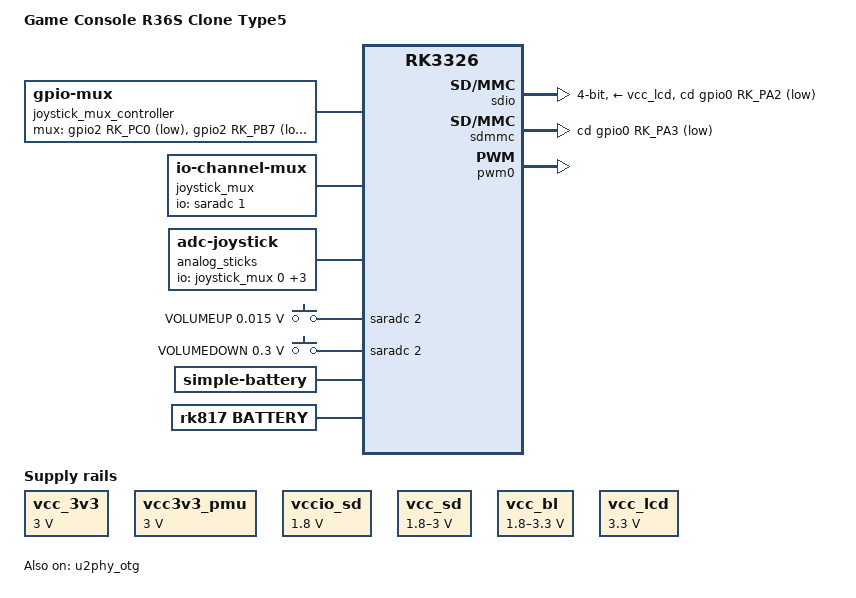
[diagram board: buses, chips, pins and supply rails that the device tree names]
// SPDX-License-Identifier: (GPL-2.0+ OR MIT)
/*
 * Arch R - R36S Clone Type5 (G80CA-MB) device tree for kernel 6.6
 *
 * Board profile for R36S clone variant "Type5" (G80CA-MB board).
 * Based on rk3326-odroid-go.dtsi (proven kernel 6.6 base).
 *
 * KEY DIFFERENCES from original R36S:
 *   - PMIC: 3.0V rails (vs 3.3V), extra LDO_REG1/LDO_REG9
 *   - Panel: different reset/enable GPIOs, 30MHz pixel clock, enable-gpios
 *   - Buttons: ALL on GPIO3 (B/C/D), thumbsticks on GPIO2 (B)
 *   - Volume: ADC-based (saradc ch2) instead of GPIO
 *   - USB OTG: disabled, vcc_host on GPIO2 PA4
 *   - Audio: no external amplifier (no spk-ctl-gpios, no use-ext-amplifier)
 *   - HP detect: GPIO2 PC6 (same as original, verified from BSP DTB)
 *   - Battery: 2775mAh (vs 3200mAh), lower charge current
 *   - SD: 100MHz max, different cd-gpios
 *   - No eMMC → SD = mmcblk0 (original has eMMC → SD = mmcblk1)
 *
 * Copyright (C) 2024-2026 Arch R Project
 */

/dts-v1/;
#include "rk3326-odroid-go.dtsi"

/ {
	model = "Game Console R36S Clone Type5";
	compatible = "gameconsole,r36s-clone-type5", "gameconsole,r36s",
		     "rockchip,rk3326";

	/* Clone has no eMMC — only SD via SDMMC controller */
	aliases {
		mmc0 = &sdmmc;  /* Primary SD slot (mmcblk0) */
	};

	/*
	 * ADC mux for dual analog sticks
	 * Clone mux GPIOs: A=GPIO2_PC0, B=GPIO2_PB7, EN=GPIO2_PB4
	 * (Verified from BSP DTB: phandle 0xbd = GPIO2 = ff260000)
	 * Channel mapping (from BSP): [2,3,1,0]
	 *   mux ch0 = Right Y, ch1 = Right X, ch2 = Left X, ch3 = Left Y
	 */
	joystick_mux_controller: mux-controller {
		compatible = "gpio-mux";
		pinctrl = <&mux_en_pins>;
		#mux-control-cells = <0>;
		mux-gpios = <&gpio2 RK_PC0 GPIO_ACTIVE_LOW>,
			    <&gpio2 RK_PB7 GPIO_ACTIVE_LOW>;
	};

	joystick_mux: adc-mux {
		compatible = "io-channel-mux";
		io-channels = <&saradc 1>;
		io-channel-names = "parent";
		#io-channel-cells = <1>;
		mux-controls = <&joystick_mux_controller>;
		channels = "0", "1", "2", "3";
	};

	analog_sticks: adc-joystick {
		compatible = "adc-joystick";
		io-channels = <&joystick_mux 0>,
			      <&joystick_mux 1>,
			      <&joystick_mux 2>,
			      <&joystick_mux 3>;
		poll-interval = <60>;
		#address-cells = <1>;
		#size-cells = <0>;

		/* Clone channel mapping: ch0=RY, ch1=RX, ch2=LX, ch3=LY */
		/* All axes inverted on clone (abs-range max < min) */
		axis@0 {
			reg = <0>;
			abs-flat = <32>;
			abs-fuzz = <32>;
			abs-range = <800 180>;
			linux,code = <ABS_RY>;
		};

		axis@1 {
			reg = <1>;
			abs-flat = <32>;
			abs-fuzz = <32>;
			abs-range = <800 180>;
			linux,code = <ABS_RX>;
		};

		axis@2 {
			reg = <2>;
			abs-flat = <32>;
			abs-fuzz = <32>;
			abs-range = <800 180>;
			linux,code = <ABS_X>;
		};

		axis@3 {
			reg = <3>;
			abs-flat = <32>;
			abs-fuzz = <32>;
			abs-range = <800 180>;
			linux,code = <ABS_Y>;
		};
	};

	/*
	 * Volume buttons: ADC-based on clone (saradc channel 2)
	 * Clone uses resistor ladder, not individual GPIO pins.
	 * Measured: Vol-up ADC ~9 (~16mV), Vol-down ADC ~166 (~292mV)
	 * Thresholds: closest-match algorithm, values near measured voltages.
	 * Reference: ROCKNIX rk3326-gameconsole-eeclone.dts
	 */
	adc-keys {
		compatible = "adc-keys";
		io-channels = <&saradc 2>;
		io-channel-names = "buttons";
		autorepeat;
		poll-interval = <100>;
		keyup-threshold-microvolt = <1800000>;

		button-vol-up {
			label = "VOLUMEUP";
			linux,code = <KEY_VOLUMEUP>;
			press-threshold-microvolt = <15000>;
		};

		button-vol-down {
			label = "VOLUMEDOWN";
			linux,code = <KEY_VOLUMEDOWN>;
			press-threshold-microvolt = <300000>;
		};
	};

	/* Battery: Clone has 2775mAh (vs 3200mAh on original) */
	battery: battery {
		compatible = "simple-battery";
		charge-full-design-microamp-hours = <2775000>;
		charge-term-current-microamp = <300000>;
		constant-charge-current-max-microamp = <800000>;
		constant-charge-voltage-max-microvolt = <4200000>;
		factory-internal-resistance-micro-ohms = <180000>;
		voltage-max-design-microvolt = <4100000>;
		voltage-min-design-microvolt = <3500000>;

		ocv-capacity-celsius = <20>;
		ocv-capacity-table-0 =  <4046950 100>, <4001920 95>, <3967900 90>, <3919950 85>,
					<3888450 80>, <3861850 75>, <3831540 70>, <3799130 65>,
					<3768190 60>, <3745650 55>, <3726610 50>, <3711630 45>,
					<3696720 40>, <3685660 35>, <3674950 30>, <3663050 25>,
					<3649470 20>, <3635260 15>, <3616920 10>, <3592440 5>,
					<3300000 0>;
	};

	/* Sound card: HP detect on GPIO2 PC6 (same as original, verified from BSP DTB) */
	rk817-sound {
		/delete-property/ simple-audio-card,routing;
		simple-audio-card,widgets = "Headphone", "Headphones";
		simple-audio-card,hp-det-gpio = <&gpio2 RK_PC6 GPIO_ACTIVE_LOW>;
		simple-audio-card,codec {
			sound-dai = <&rk817_codec>;
		};
	};

};

/* Override vcc_host: clone uses GPIO2 PA4 (vs GPIO0 PB7 on original) */
&vcc_host {
	gpio = <&gpio2 RK_PA4 GPIO_ACTIVE_HIGH>;
	pinctrl-0 = <&host_drv>;
	pinctrl-names = "default";
	/delete-property/ regulator-boot-on;
	/delete-property/ vin-supply;
};

/* ============================================================
 * Remove ODROID-specific nodes not present on clone
 * ============================================================ */
/delete-node/ &gpio_led;
/delete-node/ &pwm_led;

/* Delete ALL ODROID F-buttons (clone has different GPIOs) */
/delete-node/ &btn_f1;
/delete-node/ &btn_f2;
/delete-node/ &btn_f3;
/delete-node/ &btn_f4;
/delete-node/ &btn_f5;
/delete-node/ &btn_f6;

/* ============================================================
 * Clone gamepad buttons — ALL game buttons on GPIO3
 *
 * CRITICAL: BSP DTB phandle mapping (verified from register addresses):
 *   phandle 0x68 = ff270000 = GPIO3
 *   phandle 0xbd = ff260000 = GPIO2
 *
 * Clone Type5:    DPAD on GPIO3 C4-C7, ABXY on GPIO3 C0-C3,
 *                 shoulders on GPIO3 B2-B6, extras on GPIO3 D0-D1
 *                 thumbsticks on GPIO2 B5-B6
 *
 * Keycodes use standard BTN_* (same as original) for ES compatibility.
 * ============================================================ */
&builtin_gamepad {
	pinctrl-0 = <&btn_pins>;

	/* DPAD: clone uses GPIO3 */
	button-sw1 {
		gpios = <&gpio3 RK_PC6 GPIO_ACTIVE_LOW>;
		label = "DPAD-UP";
		linux,code = <BTN_DPAD_UP>;
	};

	button-sw2 {
		gpios = <&gpio3 RK_PC7 GPIO_ACTIVE_LOW>;
		label = "DPAD-DOWN";
		linux,code = <BTN_DPAD_DOWN>;
	};

	button-sw3 {
		gpios = <&gpio3 RK_PC4 GPIO_ACTIVE_LOW>;
		label = "DPAD-LEFT";
		linux,code = <BTN_DPAD_LEFT>;
	};

	button-sw4 {
		gpios = <&gpio3 RK_PC5 GPIO_ACTIVE_LOW>;
		label = "DPAD-RIGHT";
		linux,code = <BTN_DPAD_RIGHT>;
	};

	/* ABXY: clone has them on GPIO3 C0-C3 */
	button-sw5 {
		gpios = <&gpio3 RK_PC0 GPIO_ACTIVE_LOW>;
		label = "BTN_A";
		linux,code = <BTN_EAST>;
	};

	button-sw6 {
		gpios = <&gpio3 RK_PC1 GPIO_ACTIVE_LOW>;
		label = "BTN_B";
		linux,code = <BTN_SOUTH>;
	};

	button-sw7 {
		gpios = <&gpio3 RK_PC2 GPIO_ACTIVE_LOW>;
		label = "BTN_X";
		linux,code = <BTN_NORTH>;
	};

	button-sw8 {
		gpios = <&gpio3 RK_PC3 GPIO_ACTIVE_LOW>;
		label = "BTN_Y";
		linux,code = <BTN_WEST>;
	};

	/*
	 * Shoulders: override button-sw15/sw16 from base DTSI.
	 * Must use same node names to properly override base nodes.
	 */
	button-sw15 {
		gpios = <&gpio3 RK_PB5 GPIO_ACTIVE_LOW>;
		label = "TOP-LEFT";
		linux,code = <BTN_TL>;
	};

	button-sw16 {
		gpios = <&gpio3 RK_PB3 GPIO_ACTIVE_LOW>;
		label = "TOP-RIGHT";
		linux,code = <BTN_TR>;
	};

	/* Thumbstick buttons: on GPIO2 (verified from BSP DTB) */
	button-thumbl {
		gpios = <&gpio2 RK_PB5 GPIO_ACTIVE_LOW>;
		label = "BTN_THUMBL";
		linux,code = <BTN_THUMBL>;
	};

	button-thumbr {
		gpios = <&gpio2 RK_PB6 GPIO_ACTIVE_LOW>;
		label = "BTN_THUMBR";
		linux,code = <BTN_THUMBR>;
	};

	button-mode {
		gpios = <&gpio3 RK_PB2 GPIO_ACTIVE_LOW>;
		label = "BTN_MODE";
		linux,code = <BTN_MODE>;
	};

	button-select {
		gpios = <&gpio3 RK_PD0 GPIO_ACTIVE_LOW>;
		label = "SELECT";
		linux,code = <BTN_SELECT>;
	};

	button-start {
		gpios = <&gpio3 RK_PD1 GPIO_ACTIVE_LOW>;
		label = "START";
		linux,code = <BTN_START>;
	};

	button-tl2 {
		gpios = <&gpio3 RK_PB6 GPIO_ACTIVE_LOW>;
		label = "TOP-LEFT 2";
		linux,code = <BTN_TL2>;
	};

	button-tr2 {
		gpios = <&gpio3 RK_PB4 GPIO_ACTIVE_LOW>;
		label = "TOP-RIGHT 2";
		linux,code = <BTN_TR2>;
	};
};

/* ============================================================
 * Panel: Clone Type5 NV3052C 640x480 MIPI-DSI
 * Different GPIOs, timing, and init from original R36S
 * ============================================================ */
&internal_display {
	compatible = "archr,generic-dsi";
	reset-gpios = <&gpio3 RK_PD3 GPIO_ACTIVE_LOW>;
	enable-gpios = <&gpio3 RK_PA3 GPIO_ACTIVE_HIGH>;
	vdd-supply = <&vcc_lcd>;
	iovcc-supply = <&vcc_lcd>;
	backlight = <&backlight>;

	panel_description =
		"G size=153,85 delays=20,20,20,120,0 format=rgb888 lanes=4 flags=0xa03",
		"M clock=30000 horizontal=640,168,8,161 vertical=480,16,2,14 default=1",
		"I dcs=0xff data=30",
		"I dcs=0xff data=52",
		"I dcs=0xff data=01",
		"I dcs=0xe3 data=00",
		"I dcs=0x25 data=10",
		"I dcs=0x28 data=6f",
		"I dcs=0x29 data=01",
		"I dcs=0x2a data=df",
		"I dcs=0x2c data=22",
		"I dcs=0xc3 data=0f",
		"I dcs=0x37 data=9c",
		"I dcs=0x38 data=a7",
		"I dcs=0x39 data=41",
		"I dcs=0x80 data=20",
		"I dcs=0x91 data=67",
		"I dcs=0x92 data=67",
		"I dcs=0xa0 data=55",
		"I dcs=0xa1 data=50",
		"I dcs=0xa3 data=58",
		"I dcs=0xa4 data=9c",
		"I dcs=0xa7 data=02",
		"I dcs=0xa8 data=01",
		"I dcs=0xa9 data=21",
		"I dcs=0xaa data=fc",
		"I dcs=0xab data=28",
		"I dcs=0xac data=06",
		"I dcs=0xad data=06",
		"I dcs=0xae data=06",
		"I dcs=0xaf data=03",
		"I dcs=0xb0 data=08",
		"I dcs=0xb1 data=26",
		"I dcs=0xb2 data=28",
		"I dcs=0xb3 data=28",
		"I dcs=0xb4 data=03",
		"I dcs=0xb5 data=08",
		"I dcs=0xb6 data=26",
		"I dcs=0xb7 data=08",
		"I dcs=0xb8 data=26",
		"I dcs=0xc0 data=00",
		"I dcs=0xc1 data=00",
		"I dcs=0xc2 data=00",
		"I dcs=0xff data=30",
		"I dcs=0xff data=52",
		"I dcs=0xff data=02",
		"I dcs=0xb0 data=02",
		"I dcs=0xd0 data=02",
		"I dcs=0xb1 data=0f",
		"I dcs=0xd1 data=10",
		"I dcs=0xb2 data=11",
		"I dcs=0xd2 data=12",
		"I dcs=0xb3 data=32",
		"I dcs=0xd3 data=33",
		"I dcs=0xb4 data=36",
		"I dcs=0xd4 data=36",
		"I dcs=0xb5 data=3c",
		"I dcs=0xd5 data=3c",
		"I dcs=0xb6 data=20",
		"I dcs=0xd6 data=20",
		"I dcs=0xb7 data=3e",
		"I dcs=0xd7 data=3e",
		"I dcs=0xb8 data=0e",
		"I dcs=0xd8 data=0d",
		"I dcs=0xb9 data=05",
		"I dcs=0xd9 data=05",
		"I dcs=0xba data=11",
		"I dcs=0xda data=12",
		"I dcs=0xbb data=11",
		"I dcs=0xdb data=11",
		"I dcs=0xbc data=13",
		"I dcs=0xdc data=14",
		"I dcs=0xbd data=14",
		"I dcs=0xdd data=14",
		"I dcs=0xbe data=16",
		"I dcs=0xde data=18",
		"I dcs=0xbf data=0e",
		"I dcs=0xdf data=0f",
		"I dcs=0xc0 data=17",
		"I dcs=0xe0 data=17",
		"I dcs=0xc1 data=07",
		"I dcs=0xe1 data=08",
		"I dcs=0xff data=30",
		"I dcs=0xff data=52",
		"I dcs=0xff data=03",
		"I dcs=0x08 data=8a",
		"I dcs=0x09 data=8b",
		"I dcs=0x30 data=00",
		"I dcs=0x31 data=00",
		"I dcs=0x32 data=00",
		"I dcs=0x33 data=00",
		"I dcs=0x34 data=61",
		"I dcs=0x35 data=d4",
		"I dcs=0x36 data=24",
		"I dcs=0x37 data=03",
		"I dcs=0x40 data=86",
		"I dcs=0x41 data=87",
		"I dcs=0x42 data=84",
		"I dcs=0x43 data=85",
		"I dcs=0x44 data=11",
		"I dcs=0x45 data=de",
		"I dcs=0x46 data=dd",
		"I dcs=0x47 data=11",
		"I dcs=0x48 data=e0",
		"I dcs=0x49 data=df",
		"I dcs=0x50 data=82",
		"I dcs=0x51 data=83",
		"I dcs=0x52 data=80",
		"I dcs=0x53 data=81",
		"I dcs=0x54 data=11",
		"I dcs=0x55 data=e2",
		"I dcs=0x56 data=e1",
		"I dcs=0x57 data=11",
		"I dcs=0x58 data=e4",
		"I dcs=0x59 data=e3",
		"I dcs=0x82 data=0f",
		"I dcs=0x83 data=0f",
		"I dcs=0x84 data=00",
		"I dcs=0x85 data=0f",
		"I dcs=0x86 data=0f",
		"I dcs=0x87 data=0e",
		"I dcs=0x88 data=0e",
		"I dcs=0x89 data=06",
		"I dcs=0x8a data=06",
		"I dcs=0x8b data=07",
		"I dcs=0x8c data=07",
		"I dcs=0x8d data=04",
		"I dcs=0x8e data=04",
		"I dcs=0x8f data=05",
		"I dcs=0x90 data=05",
		"I dcs=0x98 data=0f",
		"I dcs=0x99 data=0f",
		"I dcs=0x9a data=00",
		"I dcs=0x9b data=0f",
		"I dcs=0x9c data=0f",
		"I dcs=0x9d data=0e",
		"I dcs=0x9e data=0e",
		"I dcs=0x9f data=06",
		"I dcs=0xa0 data=06",
		"I dcs=0xa1 data=07",
		"I dcs=0xa2 data=07",
		"I dcs=0xa3 data=04",
		"I dcs=0xa4 data=04",
		"I dcs=0xa5 data=05",
		"I dcs=0xa6 data=05",
		"I dcs=0xe0 data=02",
		"I dcs=0xe1 data=52",
		"I dcs=0xff data=30",
		"I dcs=0xff data=52",
		"I dcs=0xff data=00",
		"I dcs=0x36 data=02",
		"I dcs=0x11 wait=200",
		"I dcs=0x29 wait=100";
};

/* ============================================================
 * PMIC: system-power-controller for shutdown/reboot
 * Clone has different voltage rails (3.0V vs 3.3V on many)
 * NOTE: No pinctrl_rk8xx — causes kernel panic on kernel 6.6
 * ============================================================ */
&rk817 {
	rockchip,system-power-controller;

	battery {
		compatible = "rk817,battery";
		ocv_table = <3300 3592 3617 3635 3649 3663 3675
			     3686 3697 3712 3727 3746 3768 3799
			     3832 3862 3888 3920 3968 4002 4047>;
		design_capacity = <2775>;
		design_qmax = <3052>;
		bat_res = <101>;
		sleep_enter_current = <300>;
		sleep_exit_current = <300>;
		sleep_filter_current = <100>;
		power_off_thresd = <3500>;
		monitor_sec = <5>;
		sample_res = <10>;
		virtual_power = <1>;
		charge_stay_awake = <0>;
		fake_full_soc = <100>;
		nominal_voltage = <3800>;
	};
};

/* Clone USB: OTG port enabled for USB device support */
&u2phy_otg {
	status = "okay";
};

/*
 * UART2: MUST disable on clone — M1 pins (GPIO2 PB4/PB6) conflict
 * with button-tr2 and button-tl2. Console uses ttyFIQ0 (separate).
 * Without this, pinctrl fails for gpio-keys → ALL buttons dead.
 */
&uart2 {
	status = "disabled";
};

/* ============================================================
 * SDIO (second SD slot): different cd-gpio on clone
 * NOTE: Clone shares SDIO power supplies with panel/backlight
 * regulators. Keep it but adjust cd-gpio.
 * ============================================================ */
&sdio {
	bus-width = <4>;
	cap-sd-highspeed;
	card-detect-delay = <800>;
	cd-gpios = <&gpio0 RK_PA2 GPIO_ACTIVE_LOW>;
	disable-wp;
	vmmc-supply = <&vcc_lcd>;
	vqmmc-supply = <&vcc_bl>;
	status = "okay";
};

/* Primary SD slot: different cd-gpio on clone */
&sdmmc {
	cd-gpios = <&gpio0 RK_PA3 GPIO_ACTIVE_LOW>;
};

&pwm0 {
	status = "okay";
};

/* Backlight: same as original (PWM, 0-255 range) */
&backlight {
	brightness-levels = <
		  0   1   2   3   4   5   6   7
		  8   9  10  11  12  13  14  15
		 16  17  18  19  20  21  22  23
		 24  25  26  27  28  29  30  31
		 32  33  34  35  36  37  38  39
		 40  41  42  43  44  45  46  47
		 48  49  50  51  52  53  54  55
		 56  57  58  59  60  61  62  63
		 64  65  66  67  68  69  70  71
		 72  73  74  75  76  77  78  79
		 80  81  82  83  84  85  86  87
		 88  89  90  91  92  93  94  95
		 96  97  98  99 100 101 102 103
		104 105 106 107 108 109 110 111
		112 113 114 115 116 117 118 119
		120 121 122 123 124 125 126 127
		128 129 130 131 132 133 134 135
		136 137 138 139 140 141 142 143
		144 145 146 147 148 149 150 151
		152 153 154 155 156 157 158 159
		160 161 162 163 164 165 166 167
		168 169 170 171 172 173 174 175
		176 177 178 179 180 181 182 183
		184 185 186 187 188 189 190 191
		192 193 194 195 196 197 198 199
		200 201 202 203 204 205 206 207
		208 209 210 211 212 213 214 215
		216 217 218 219 220 221 222 223
		224 225 226 227 228 229 230 231
		232 233 234 235 236 237 238 239
		240 241 242 243 244 245 246 247
		248 249 250 251 252 253 254 255>;
	default-brightness-level = <200>;
};

/* ============================================================
 * Pinctrl: Clone button GPIO assignments
 * Game buttons on bank 3, thumbsticks on bank 2, mux on bank 2
 * ============================================================ */
&pinctrl {
	btns {
		btn_pins: btn-pins {
			rockchip,pins = /* GPIO3: all game buttons */
					<3 RK_PB2 RK_FUNC_GPIO &pcfg_pull_up>,
					<3 RK_PB3 RK_FUNC_GPIO &pcfg_pull_up>,
					<3 RK_PB4 RK_FUNC_GPIO &pcfg_pull_up>,
					<3 RK_PB5 RK_FUNC_GPIO &pcfg_pull_up>,
					<3 RK_PB6 RK_FUNC_GPIO &pcfg_pull_up>,
					<3 RK_PC0 RK_FUNC_GPIO &pcfg_pull_up>,
					<3 RK_PC1 RK_FUNC_GPIO &pcfg_pull_up>,
					<3 RK_PC2 RK_FUNC_GPIO &pcfg_pull_up>,
					<3 RK_PC3 RK_FUNC_GPIO &pcfg_pull_up>,
					<3 RK_PC4 RK_FUNC_GPIO &pcfg_pull_up>,
					<3 RK_PC5 RK_FUNC_GPIO &pcfg_pull_up>,
					<3 RK_PC6 RK_FUNC_GPIO &pcfg_pull_up>,
					<3 RK_PC7 RK_FUNC_GPIO &pcfg_pull_up>,
					<3 RK_PD0 RK_FUNC_GPIO &pcfg_pull_up>,
					<3 RK_PD1 RK_FUNC_GPIO &pcfg_pull_up>,
					/* GPIO2: thumbstick buttons */
					<2 RK_PB5 RK_FUNC_GPIO &pcfg_pull_up>,
					<2 RK_PB6 RK_FUNC_GPIO &pcfg_pull_up>;
		};
	};

	joystick {
		mux_en_pins: mux-pins {
			rockchip,pins = <2 RK_PB4 RK_FUNC_GPIO &pcfg_output_low>;
		};
	};

	usb {
		host_drv: host-drv {
			rockchip,pins = <2 RK_PA4 RK_FUNC_GPIO &pcfg_pull_none>;
		};
	};
};

&sfc {
	status = "disabled";
};

/* ============================================================
 * PMIC Regulator overrides for clone voltages
 * Clone runs at 3.0V on several rails (vs 3.3V on original)
 * ============================================================ */

/* DCDC_REG1 (vdd_logic): clone max is 1150mV (vs 1168mV original) */
&vdd_logic {
	regulator-max-microvolt = <1150000>;
};

/* DCDC_REG4: clone is vcc_3v0 (3.0V), original is vcc_3v3 (3.3V) */
&vcc_3v3 {
	regulator-name = "vcc_3v0";
	regulator-min-microvolt = <3000000>;
	regulator-max-microvolt = <3000000>;
};

/* LDO_REG4: clone is 3.0V (vs 3.3V on original) */
&vcc3v3_pmu {
	regulator-name = "vcc3v0_pmu";
	regulator-min-microvolt = <3000000>;
	regulator-max-microvolt = <3000000>;
};

/* LDO_REG5 (vccio_sd): clone is fixed 1.8V (original 1.8-3.3V) */
&vccio_sd {
	regulator-min-microvolt = <1800000>;
	regulator-max-microvolt = <1800000>;
};

/* LDO_REG6 (vcc_sd): clone 1.8-3.0V range (original 3.3V fixed) */
&vcc_sd {
	regulator-min-microvolt = <1800000>;
	regulator-max-microvolt = <3000000>;
	regulator-always-on;
};

/* LDO_REG7 (vcc_bl): clone allows wider range */
&vcc_bl {
	regulator-min-microvolt = <1800000>;
	regulator-max-microvolt = <3300000>;
	regulator-always-on;
	regulator-boot-on;
};

/* LDO_REG8 (vcc_lcd): clone is 3.3V (original 2.8V) */
&vcc_lcd {
	regulator-name = "vcc3v0_dvp";
	regulator-min-microvolt = <3300000>;
	regulator-max-microvolt = <3300000>;
	regulator-always-on;
	regulator-boot-on;
};

/* ============================================================
 * RK817 charger: clone has lower charge currents (800mA)
 * ============================================================ */
&rk817_charger {
	compatible = "rk817,charger";
	monitored-battery = <&battery>;
	extcon = <&u2phy>;
	min_input_voltage = <4500>;
	max_input_current = <800>;
	max_chrg_current = <800>;
	max_chrg_voltage = <4200>;
	chrg_term_mode = <0>;
	chrg_finish_cur = <300>;
	virtual_power = <0>;
	power_dc2otg = <0>;
	sample_res = <10>;
	otg5v_suspend_enable = <1>;
	gate_function_disable = <0>;
	dc_det_adc = <0>;
};

/* ============================================================
 * RK817 codec: Clone has NO external speaker amplifier
 * Unlike original R36S which needs spk-ctl-gpios and
 * use-ext-amplifier, the clone drives the speaker directly
 * from the codec's internal class-D output (or has an
 * always-on amplifier that doesn't need GPIO control).
 * ============================================================ */
&rk817_codec {
	compatible = "rockchip,rk817-codec";
	clocks = <&cru SCLK_I2S1_OUT>;
	clock-names = "mclk";
	#sound-dai-cells = <0>;
	spk-volume = <3>;
	hp-volume = <20>;
	/* No spk-ctl-gpios or use-ext-amplifier on clone */
};

/* CPU: full 1512MHz (same as original) */
&cpu0_opp_table {
	rockchip,avs = <1>;
};

/* DRAM: keep 786MHz disabled (clone hardware may not support it) */
/* &dmc_opp_table left at default: 786MHz disabled */

/* GPU: 520MHz max (no overclock — clone PMIC max is 1150mV not 1175mV) */
/* &gpu_opp_table left at default from rk3326.dtsi */

/* Fix GPU interrupt-names for Panfrost (same fix needed on clone) */
&gpu {
	interrupt-names = "gpu", "mmu", "job";
};
